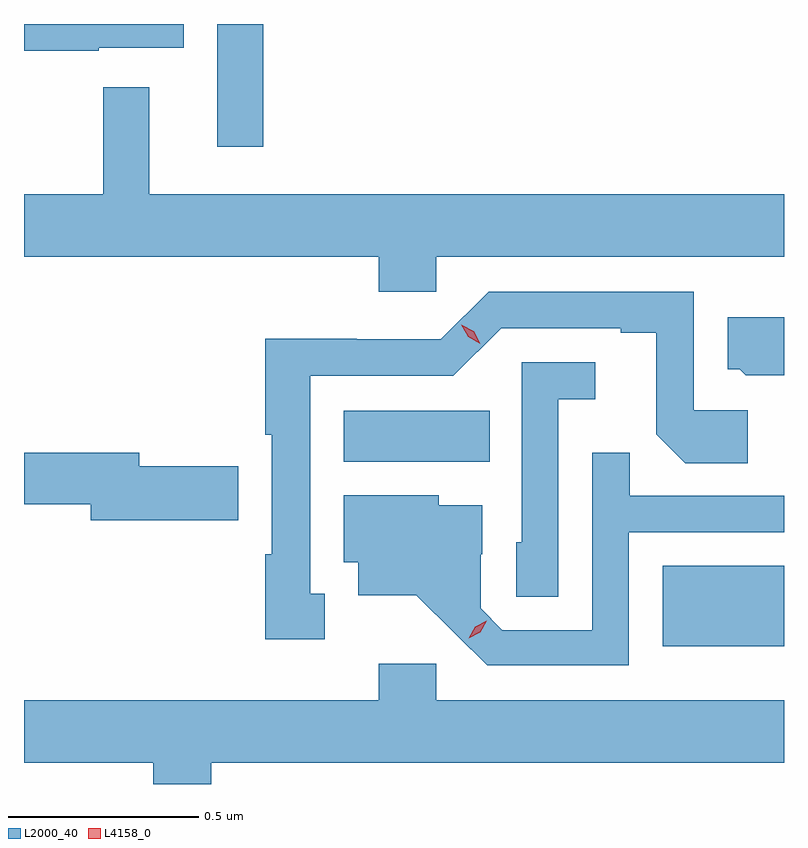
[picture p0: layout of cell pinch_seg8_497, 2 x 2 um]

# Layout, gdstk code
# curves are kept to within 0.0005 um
import gdstk
lib = gdstk.Library(unit=1e-6, precision=1e-09)
def R(c, l, rs):  # rectangles x0, y0, x1, y1
    for r in rs: c.add(gdstk.rectangle(r[:2], r[2:], *l))
def P(c, l, *ps):  # polygons
    for p in ps: c.add(gdstk.Polygon(p, *l))
L2000_40 = (2000, 40)
L4158_0 = (4158, 0)

pinch_seg8_497 = lib.new_cell('pinch_seg8_497')
R(pinch_seg8_497, L2000_40, [(230.564,1138.118,230.883,1138.33), (229.724,1138.604,230.108,1138.738), (229.391,1139.433,229.513,1139.756)])
P(pinch_seg8_497, L2000_40, [(229.08,1139.693),(229.303,1139.693),(229.303,1139.756),(228.883,1139.756),(228.883,1139.686),(229.08,1139.686)],
  [(229.968,1139.144),(230.883,1139.144),(230.883,1139.308),(229.213,1139.308),(229.213,1139.59),(229.092,1139.59),(229.092,1139.308),(228.883,1139.308),(228.883,1139.144),(229.817,1139.144),(229.817,1139.051),(229.968,1139.051)],
  [(229.675,1138.257),(229.636,1138.257),(229.636,1138.83),(230.013,1138.83),(230.139,1138.956),(230.453,1138.956),(230.453,1138.944),(230.547,1138.944),(230.547,1138.676),(230.623,1138.6),(230.788,1138.6),(230.788,1138.74),(230.646,1138.74),(230.646,1139.052),(230.106,1139.052),(229.98,1138.926),(229.758,1138.926),(229.758,1138.928),(229.518,1138.928),(229.518,1138.675),(229.535,1138.675),(229.535,1138.361),(229.518,1138.361),(229.518,1138.137),(229.675,1138.137)],
  [(230.883,1138.984),(230.735,1138.984),(230.735,1138.848),(230.766,1138.848),(230.782,1138.832),(230.883,1138.832)],
  [(230.289,1138.769),(230.386,1138.769),(230.386,1138.866),(230.193,1138.866),(230.193,1138.392),(230.178,1138.392),(230.178,1138.249),(230.289,1138.249)],
  [(230.475,1138.419),(230.883,1138.419),(230.883,1138.515),(230.477,1138.515),(230.477,1138.628),(230.379,1138.628),(230.379,1138.161),(230.142,1138.161),(230.085,1138.218),(230.085,1138.36),(230.089,1138.36),(230.089,1138.489),(229.974,1138.489),(229.974,1138.516),(229.724,1138.516),(229.724,1138.34),(229.763,1138.34),(229.763,1138.253),(229.915,1138.253),(230.102,1138.068),(230.475,1138.068)],
  [(229.447,1138.592),(229.186,1138.592),(229.186,1138.628),(228.883,1138.628),(228.883,1138.492),(229.058,1138.492),(229.058,1138.45),(229.447,1138.45)],
  [(229.376,1137.812),(230.883,1137.812),(230.883,1137.976),(229.968,1137.976),(229.968,1138.072),(229.817,1138.072),(229.817,1137.976),(228.883,1137.976),(228.883,1137.812),(229.223,1137.812),(229.223,1137.756),(229.376,1137.756)])
P(pinch_seg8_497, L4158_0, [(230.053,1138.14),(230.053,1138.14),(230.07,1138.17),(230.101,1138.185),(230.101,1138.185),(230.101,1138.185),(230.084,1138.156),(230.054,1138.14)],
  [(230.084,1138.914),(230.052,1138.933),(230.034,1138.965),(230.034,1138.965),(230.034,1138.965),(230.066,1138.947),(230.084,1138.915),(230.084,1138.914)])

lib.write_gds('pinch_seg8_497.gds')
